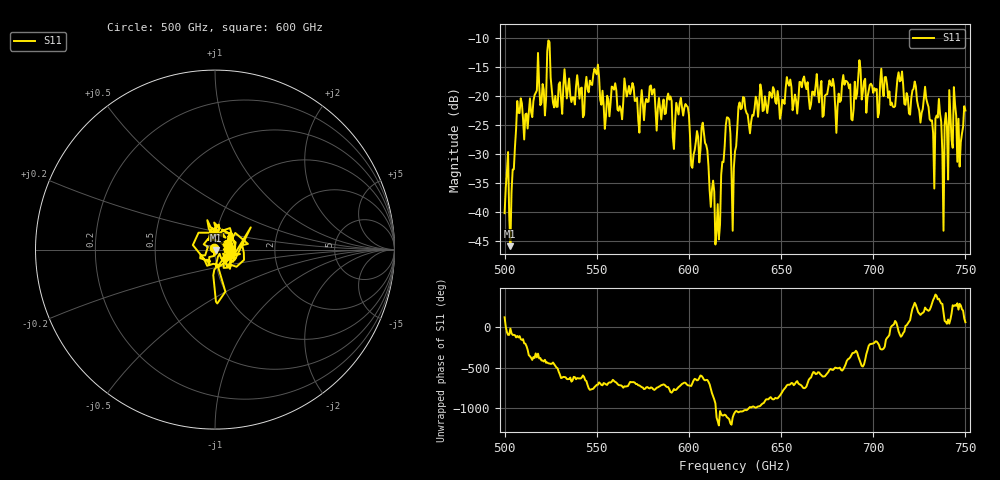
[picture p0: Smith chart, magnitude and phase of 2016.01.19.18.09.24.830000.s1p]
!Created with skrf (http://scikit-rf.org).
# GHz S RI R 50.0
!freq ReS11 ImS11
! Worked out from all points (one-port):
!   401 points, 500 GHz to 750 GHz, reference 50 ohm
!   lowest |S11| = -45.8 dB at 503.1 GHz (marker M1), VSWR 1.01, Z = 50.5 - j0.164 ohm
!   |S11| at or under -10 dB: start of sweep to end of sweep
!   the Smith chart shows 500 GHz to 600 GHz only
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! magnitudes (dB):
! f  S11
! 500 GHz  -40.1
! 503.1 GHz  -45.8
! 508.1 GHz  -22.9
! 521.2 GHz  -19.0
! 524.4 GHz  -10.7
! 527.5 GHz  -20.0
! 531.2 GHz  -23.1
! 549.4 GHz  -15.8
! 553.8 GHz  -21.6
! 562.5 GHz  -21.7
! 593.8 GHz  -22.2
! 598.8 GHz  -21.7
! 601.9 GHz  -32.4
! 608.1 GHz  -26.4
! 615.6 GHz  -38.6
! 620.6 GHz  -23.7
! 625 GHz  -29.5
! 628.8 GHz  -22.0
! 656.2 GHz  -22.4
! 687.5 GHz  -18.0
! 710.6 GHz  -21.8
! 714.4 GHz  -17.5
! 718.8 GHz  -20.2
! 735.6 GHz  -20.5
! 739.4 GHz  -22.9
! 742.5 GHz  -27.6
! 746.9 GHz  -32.1
! 750 GHz  -22.5
